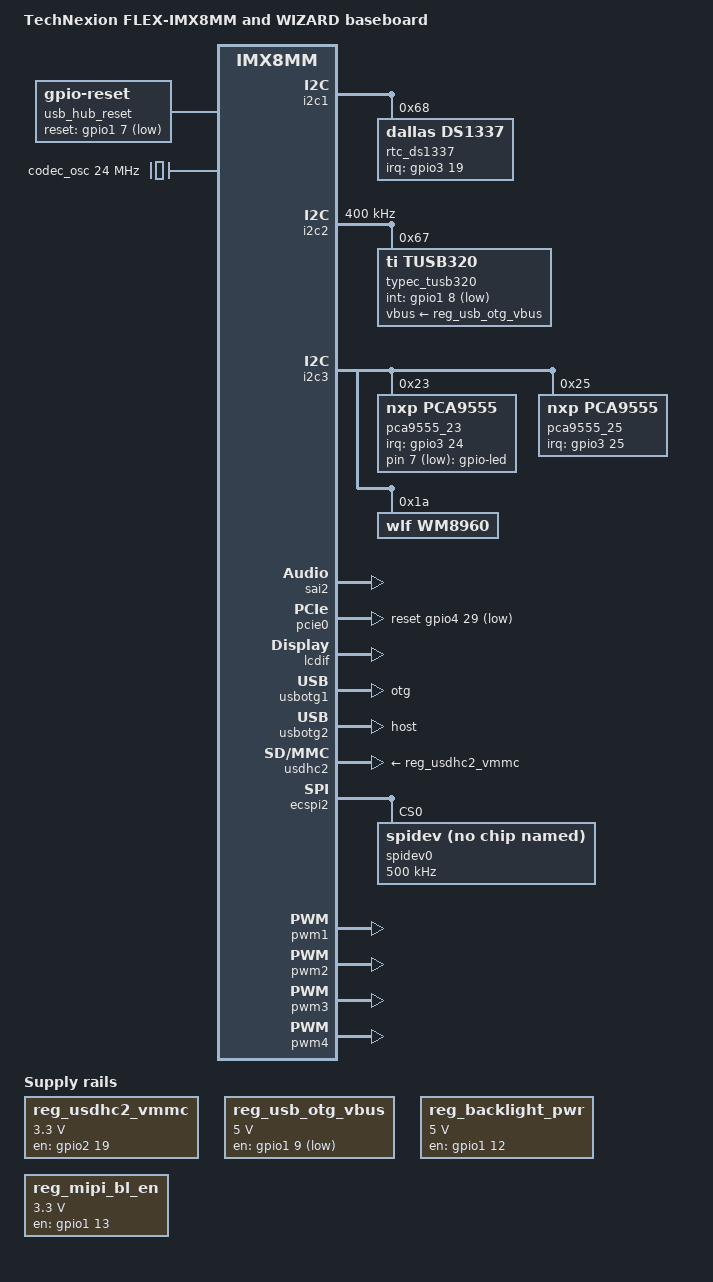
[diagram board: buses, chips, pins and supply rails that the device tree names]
// SPDX-License-Identifier: (GPL-2.0+ OR MIT)
/*
 * Copyright 2020 TechNexion Ltd.
 *
 * Author: Ray Chang <ray.chang@technexion.com>
 *
 */

/dts-v1/;

#include "imx8mm-flex.dtsi"

&gpio1 {
	pinctrl-0 = <&pinctrl_gpio1>;
	gpio-line-names =	\
		"WL_REG_ON", "M2_RSTn", "", "BT_REG_ON", "", "CSI_P1_nRST", "CSI_P1_PWDN", "USB_HUB_RESET",	\
		"GPIO_P258", "USB_OTG_PWR_EN", "DSI1_EN", "MIPI_RST", "MIPI_VDDEN", "PWM2", "", "",	\
		"", "", "", "", "", "", "", "",	\
		"", "", "", "", "", "", "", "";
};

&gpio3 {
	pinctrl-0 = <&pinctrl_gpio3>;
	gpio-line-names =	\
		"WL_WAKE_HOST", "ENET_PWR_EN", "", "", "", "", "GPIO_P242", "PMIC_nINT",	\
		"USB_OTG_OC", "GPIO_P246", "", "", "", "", "", "",	\
		"BT_WAKE_HOST", "", "", "GPIO_P252", "GPIO_P240", "", "", "",	\
		"GPIO_P248", "GPIO_P250", "", "", "", "", "", "";
};

&gpio4 {
	pinctrl-0 = <&pinctrl_gpio4>;
	gpio-line-names =	\
		"BRD_CONF_SCL", "BRD_CONF_SDA", "", "", "", "", "", "",	\
		"", "", "", "", "", "", "", "",	\
		"", "", "", "", "GPIO_P256", "PCIE_nWAKE", "PCIE_nCLKREQ", "",	\
		"", "", "", "", "GPIO_P244", "PCIE1_nRST", "", "";
};

/ {
	model = "TechNexion FLEX-IMX8MM and WIZARD baseboard";
	compatible = "fsl,imx8mm-flex", "fsl,imx8mm";

	usb_hub_reset: usb-hub-reset {
		compatible = "gpio-reset";
		pinctrl-names = "default";
		pinctrl-0 = <&pinctrl_usb_hub_reset>;
		reset-gpios = <&gpio1 7 GPIO_ACTIVE_LOW>;
		reset-delay-us = <10>;
		#reset-cells = <0>;
	};

	regulators {
		compatible = "simple-bus";
		#address-cells = <1>;
		#size-cells = <0>;

		reg_usdhc2_vmmc: regulator-usdhc2 {
			pinctrl-names = "default";
			pinctrl-0 = <&pinctrl_usdhc2_gpio>;
			compatible = "regulator-fixed";
			regulator-name = "SD_3V3";
			regulator-min-microvolt = <3300000>;
			regulator-max-microvolt = <3300000>;
			gpio = <&gpio2 19 GPIO_ACTIVE_HIGH>;
			off-on-delay = <20000>;
			enable-active-high;
		};

		reg_usb_otg_vbus: usb_otg_vbus {
			pinctrl-names = "default";
			pinctrl-0 = <&pinctrl_otg_vbus>;
			compatible = "regulator-fixed";
			regulator-name = "usb_otg_vbus";
			regulator-min-microvolt = <5000000>;
			regulator-max-microvolt = <5000000>;
			gpio = <&gpio1 9 GPIO_ACTIVE_LOW>;
		};

		reg_backlight_pwr: regulator_blpwr {
			pinctrl-names = "default";
			pinctrl-0 = <&pinctrl_backlight_pwr>;
			compatible = "regulator-fixed";
			regulator-name = "backlight_pwr";
			regulator-min-microvolt = <5000000>;
			regulator-max-microvolt = <5000000>;
			gpio = <&gpio1 12 GPIO_ACTIVE_HIGH>;
			enable-active-high;
		};

		reg_mipi_bl_en: regulator_mipiblen {
			pinctrl-names = "default";
			pinctrl-0 = <&pinctrl_mipi_dsi_bl_en>;
			compatible = "regulator-fixed";
			regulator-name = "mipi_blen";
			regulator-min-microvolt = <3300000>;
			regulator-max-microvolt = <3300000>;
			gpio = <&gpio1 13 GPIO_ACTIVE_HIGH>;
			enable-active-high;
		};
	};

	backlight_mipi {
		compatible = "pwm-backlight";
		pwms = <&pwm1 0 50000 0>;
		brightness-levels = <0 36 72 108 144 180 216 255>;
		default-brightness-level = <6>;
		power-supply = <&reg_backlight_pwr>;
		status = "disabled";
	};

	leds {
		compatible = "gpio-leds";

		led {
			label = "gpio-led";
			gpios = <&pca9555_23 7 GPIO_ACTIVE_LOW>;
		};
	};

	sound-wm8960 {
		compatible = "fsl,imx-audio-wm8960";
		model = "wm8960-audio";
		cpu-dai = <&sai2>;
		codec-master;
		audio-codec = <&wm8960>;
		audio-routing =
			"Headphone Jack", "HP_L",
			"Headphone Jack", "HP_R",
			"Ext Spk", "SPK_LP",
			"Ext Spk", "SPK_LN",
			"Ext Spk", "SPK_RP",
			"Ext Spk", "SPK_RN",
			"LINPUT1", "Main MIC",
			"RINPUT1", "Main MIC",
			"Main MIC", "MICB";
		/* JD2: hp detect high for headphone*/
		hp-det = <2 0>;
	};

	clocks {
		codec_osc: aud_mclk {
			compatible = "fixed-clock";
			#clock-cells = <0>;
			clock-frequency = <24000000>;
			clock-output-names = "wm8960-mclk";
		};
	};
};

&iomuxc {
	pinctrl_gpio1: gpio1grp {
		fsl,pins = <
			MX8MM_IOMUXC_GPIO1_IO10_GPIO1_IO10	0x19 /* DSI1_EN */
		>;
	};

	pinctrl_gpio3: gpio3grp {
		fsl,pins = <
			MX8MM_IOMUXC_NAND_DATA00_GPIO3_IO6	0x19 /* GPIO_P242, CLIX2_IRQ_PN7150 */
			MX8MM_IOMUXC_NAND_DATA02_GPIO3_IO8	0x19 /* USB_OTG_OC */
			MX8MM_IOMUXC_NAND_DATA03_GPIO3_IO9	0x19 /* GPIO_P246, KEY_PREV, CLIX1_IRQ_PN7150 */
			MX8MM_IOMUXC_SAI5_RXC_GPIO3_IO20	0x19 /* GPIO_P240, KEY_UP */
		>;
	};

	pinctrl_gpio4: gpio4grp {
		fsl,pins = <
			MX8MM_IOMUXC_SAI3_RXFS_GPIO4_IO28	0x19 /* GPIO_P244 */
		>;
	};

	pinctrl_otg_vbus: otgvbusgrp {
		fsl,pins = <
			MX8MM_IOMUXC_GPIO1_IO09_GPIO1_IO9	0x19 /* USB OTG VBUS Enable */
		>;
	};

	pinctrl_backlight_pwr: backlight_pwrgrp {
		fsl,pins = <
			MX8MM_IOMUXC_GPIO1_IO12_GPIO1_IO12	0x19
		>;
	};

	pinctrl_dsi_pwm: dsi_pwmgrp {
		fsl,pins = <
			MX8MM_IOMUXC_SPDIF_EXT_CLK_PWM1_OUT	0x16 /* DSI PWM */
		>;
	};

	pinctrl_tusb320_irq: tusb320_irqgrp {
		fsl,pins = <
			MX8MM_IOMUXC_GPIO1_IO08_GPIO1_IO8	0x41 /* GPIO_P258, TUSB320 INT*/
		>;
	};

	pinctrl_rtc_irq: rtc_irqgrp {
		fsl,pins = <
			MX8MM_IOMUXC_SAI5_RXFS_GPIO3_IO19	0x41 /* GPIO_P252, RTC INT*/
		>;
	};

	pinctrl_csi_pwn: csi_pwn_grp {
		fsl,pins = <
			MX8MM_IOMUXC_GPIO1_IO06_GPIO1_IO6	0x19
		>;
	};

	pinctrl_csi_rst: csi_rst_grp {
		fsl,pins = <
			MX8MM_IOMUXC_GPIO1_IO05_GPIO1_IO5		0x19
			MX8MM_IOMUXC_GPIO1_IO14_CCMSRCGPCMIX_CLKO1	0x59
		>;
	};

	pinctrl_mipi_dsi_rst: mipi_dsi_rstgrp {
		fsl,pins = <
			MX8MM_IOMUXC_GPIO1_IO11_GPIO1_IO11	0x16 /* DSI RST */
		>;
	};

	pinctrl_mipi_dsi_bl_en: mipi_dsi_bl_en_rstgrp {
		fsl,pins = <
			MX8MM_IOMUXC_GPIO1_IO13_GPIO1_IO13	0x41 /* MIPI_BL_EN */
		>;
	};

	pinctrl_touch_irq: touch_irqgrp {
		fsl,pins = <
			MX8MM_IOMUXC_SPDIF_RX_GPIO5_IO4		0x19 /* GPIO_P254, Touch INT */
		>;
	};

	pinctrl_touch_rst: touch_rstgrp {
		fsl,pins = <
			MX8MM_IOMUXC_SAI1_MCLK_GPIO4_IO20	0x16 /* GPIO_P256, Touch RST */
		>;
	};

	pinctrl_pca9555_23: pca9555_23grp {
		fsl,pins = <
			MX8MM_IOMUXC_SAI5_RXD3_GPIO3_IO24	0x19 /* GPIO_P248 */
		>;
	};

	pinctrl_pca9555_25: pca9555_25grp {
		fsl,pins = <
			MX8MM_IOMUXC_SAI5_MCLK_GPIO3_IO25	0x19 /* GPIO_P250 */
		>;
	};

	pinctrl_tfa98xx: tfa98xx_ctrlgrp {
		fsl,pins = <
			MX8MM_IOMUXC_ECSPI2_SCLK_GPIO5_IO10	0x19 /* RST */
			MX8MM_IOMUXC_ECSPI2_MISO_GPIO5_IO12	0x19 /* INT */
		>;
	};

	pinctrl_gpio_key_voicehat: gpiokey_voicehatgrp {
		fsl,pins = <
			MX8MM_IOMUXC_GPIO1_IO13_GPIO1_IO13	0x41 /* PWM2, KEY_PLAY */
			MX8MM_IOMUXC_ECSPI2_SS0_GPIO5_IO13	0x41 /* ECSPI2_SS0, KEY_PAIR */
			MX8MM_IOMUXC_SPDIF_TX_GPIO5_IO3		0x41 /* PWM3, KEY_ACT */
		>;
	};

	pinctrl_m2_rst: m2_rstgrp {
		fsl,pins = <
			MX8MM_IOMUXC_GPIO1_IO01_GPIO1_IO1	0x19 /* M2_RSTn */
		>;
	};

	pinctrl_ntag: ntag_grp {
		fsl,pins = <
			MX8MM_IOMUXC_GPIO1_IO15_GPIO1_IO15	0x19
		>;
	};

	pinctrl_clix_bt_ctrl: clixbt_ctrlgrp {
		fsl,pins = <
			MX8MM_IOMUXC_ECSPI2_SCLK_GPIO5_IO10	0x41 /* CLIX_BT_HOST_WAKE */
			MX8MM_IOMUXC_ECSPI2_MOSI_GPIO5_IO11	0x41 /* CLIX_BT_REG_ON */
		>;
	};

	pinctrl_clix_wifi_ctrl: clixwifi_ctrlgrp {
		fsl,pins = <
			MX8MM_IOMUXC_ECSPI2_MISO_GPIO5_IO12	0x41 /* CLIX_WL_HOST_WAKE */
			MX8MM_IOMUXC_ECSPI2_SS0_GPIO5_IO13	0x41 /* CLIX_WL_REG_ON */
		>;
	};

	pinctrl_clix_nfc_ctrl: clixnfcc_ctrlgrp {
		fsl,pins = <
			MX8MM_IOMUXC_ECSPI2_MOSI_GPIO5_IO11	0x19 /* VEN_PN7150 */
		>;
	};
};

&i2c1 {
	status = "okay";

	rtc_ds1337: ds1337@68 {
		compatible = "dallas,ds1337";
		pinctrl-names = "default";
		pinctrl-0 = <&pinctrl_rtc_irq>;
		reg = <0x68>;
		wakeup-source;
		interrupt-parent = <&gpio3>;
		interrupts = <19 IRQ_TYPE_EDGE_FALLING>;
	};
};

&i2c2 {
	clock-frequency = <400000>;
	status = "okay";

	typec_tusb320:tusb320@67 {
		compatible = "ti,tusb320";
		pinctrl-names = "default";
		pinctrl-0 = <&pinctrl_tusb320_irq>;
		reg = <0x67>;
		vbus-supply = <&reg_usb_otg_vbus>;
		tusb320,int-gpio = <&gpio1 8 GPIO_ACTIVE_LOW>;
		tusb320,select-mode = <0>;
		tusb320,dfp-power = <0>;
	};
};

&i2c3 {
	status = "okay";

	pca9555_23: pca9555_23@23 {
		compatible = "nxp,pca9555";
		pinctrl-names = "default";
		pinctrl-0 = <&pinctrl_pca9555_23>;
		interrupt-parent = <&gpio3>;
		interrupts = <24 IRQ_TYPE_LEVEL_LOW>;
		reg =<0x23>;
		gpio-controller;
		#gpio-cells = <2>;
		interrupt-controller;
		#interrupt-cells = <2>;
		gpio-line-names = "CLIX2_GPIO0", "CLIX2_GPIO1", "CLIX2_GPIO2", "CLIX2_GPIO3",
							"CLIX2_GPIO4", "CLIX2_GPIO5", "CLIX2_GPIO6", "EXP_LED_EN",
							"IRQ_PN7150", "VEN_PN7150", "EXP_MIPI_TE", "EXP_PCIE_nDISABLE",
							"EXP_PCIE1_nWAKE", "EXP_PCIE1_CLKRQ", "EXP_PCIE2_nWAKE", "EXP_PCIE2_nCLKREQ";
	};

	pca9555_25: pca9555_25@25 {
		compatible = "nxp,pca9555";
		pinctrl-names = "default";
		pinctrl-0 = <&pinctrl_pca9555_25>;
		interrupt-parent = <&gpio3>;
		interrupts = <25 IRQ_TYPE_LEVEL_LOW>;
		reg =<0x25>;
		gpio-controller;
		#gpio-cells = <2>;
		interrupt-controller;
		#interrupt-cells = <2>;
		gpio-line-names = "VH_GPIO_0",  "VH_GPIO_1", "VH_GPIO_2",
							"VH_GPIO_3" , /* KEY_PREV */
							"VH_GPIO_4" , /* KEY_DOWN */
							"VH_GPIO_5" , /* KEY_MUTE */
							"VH_GPIO_6" , /* KEY_UP */
							"VH_GPIO_7" , /* KEY_NEXT */
							"EXP_M2_WAN_DISABLEn", "EXP_M2_WAN_WAKE", "EXP_M2_CLKREQn", "EXP_M2_FC_PWR_OFF",
							"MIPI_INTn", "", "EXP_GPIO4", "EXP_EN_VOUT";
	};

	wm8960: codec@1a {
		compatible = "wlf,wm8960";
		#sound-dai-cells = <0>;
		reg = <0x1a>;
		clocks = <&codec_osc>;
		clock-names = "mclk";
		wlf,shared-lrclk;
		wlf,fixed-mclk;
	};
};

&sai2 {
	status = "okay";
};

&pcie0{
	reset-gpio = <&gpio4 29 GPIO_ACTIVE_LOW>;
	wake-gpio = <&gpio4 21 GPIO_ACTIVE_LOW>;
	clkreq-gpio = <&gpio4 22 GPIO_ACTIVE_LOW>;
	disable-gpio = <&pca9555_23 11 GPIO_ACTIVE_LOW>;
	ext_osc = <1>;
	status = "okay";
};

&lcdif {
	status = "okay";
};

&usbotg1 {
	dr_mode = "otg";
	extcon = <0>, <&typec_tusb320>;
	status = "okay";
};

&usbotg2 {
	dr_mode = "host";
	resets = <&usb_hub_reset>;
	status = "okay";
};

/* SD card on Baseboard */
&usdhc2 {
	vmmc-supply = <&reg_usdhc2_vmmc>;
	status = "okay";
};

&ecspi2 {
	status = "okay";

	spidev0: spi@0 {
		reg = <0>;
		compatible = "rohm,dh2228fv";
		spi-max-frequency = <500000>;
	};
};

&pwm1 {
	pinctrl-names = "default";
	pinctrl-0 = <&pinctrl_dsi_pwm>;
	status = "okay";
};

&pwm2 {
	pinctrl-names = "default";
	pinctrl-0 = <&pinctrl_pwm2>;
	status = "okay";
};

&pwm3 {
	pinctrl-names = "default";
	pinctrl-0 = <&pinctrl_pwm3>;
	status = "okay";
};

&pwm4 {
	pinctrl-names = "default";
	pinctrl-0 = <&pinctrl_pwm4>;
	status = "okay";
};
